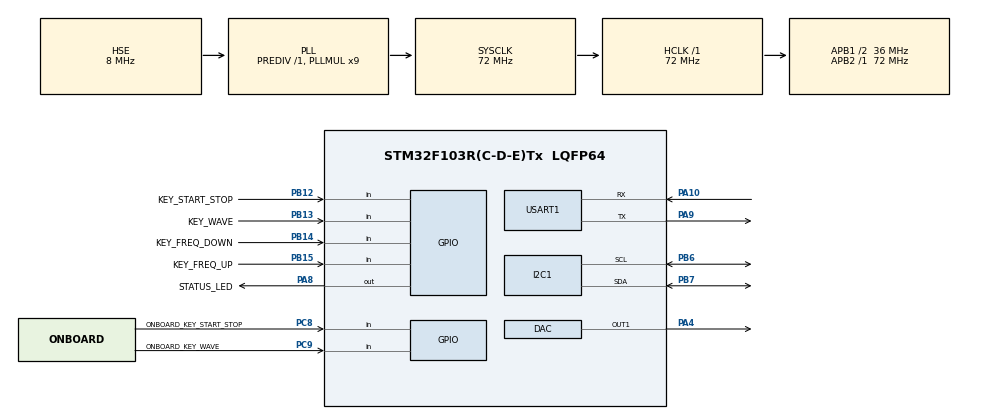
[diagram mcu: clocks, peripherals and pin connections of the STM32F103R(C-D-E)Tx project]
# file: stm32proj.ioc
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DAC.DAC_Trigger=DAC_TRIGGER_T6_TRGO
Dma.DAC_CH1.0.Direction=DMA_MEMORY_TO_PERIPH
Dma.DAC_CH1.0.Instance=DMA2_Channel3
Dma.DAC_CH1.0.MemDataAlignment=DMA_MDATAALIGN_HALFWORD
Dma.DAC_CH1.0.MemInc=DMA_MINC_ENABLE
Dma.DAC_CH1.0.Mode=DMA_CIRCULAR
Dma.DAC_CH1.0.PeriphDataAlignment=DMA_PDATAALIGN_HALFWORD
Dma.DAC_CH1.0.PeriphInc=DMA_PINC_DISABLE
Dma.DAC_CH1.0.Priority=DMA_PRIORITY_HIGH
Dma.Request0=DAC_CH1
Mcu.Family=STM32F1
Mcu.Name=STM32F103R(C-D-E)Tx
Mcu.Package=LQFP64
NVIC.DMA2_Channel3_IRQn=true\:0\:0\:false\:false\:true\:false\:true\:true
NVIC.PriorityGroup=NVIC_PRIORITYGROUP_4
PA10.Mode=Asynchronous
PA10.Signal=USART1_RX
PA13.Mode=Serial_Wire
PA13.Signal=SYS_JTMS-SWDIO
PA14.Mode=Serial_Wire
PA14.Signal=SYS_JTCK-SWCLK
PA4.Signal=COMP_DAC1_group
PA8.GPIO_Label=STATUS_LED
PA8.PinState=GPIO_PIN_SET
PA8.Signal=GPIO_Output
PA9.Mode=Asynchronous
PA9.Signal=USART1_TX
PB12.GPIO_Label=KEY_START_STOP
PB12.GPIO_PuPd=GPIO_PULLUP
PB12.Signal=GPIO_Input
PB13.GPIO_Label=KEY_WAVE
PB13.GPIO_PuPd=GPIO_PULLUP
PB13.Signal=GPIO_Input
PB14.GPIO_Label=KEY_FREQ_DOWN
PB14.GPIO_PuPd=GPIO_PULLUP
PB14.Signal=GPIO_Input
PB15.GPIO_Label=KEY_FREQ_UP
PB15.GPIO_PuPd=GPIO_PULLUP
PB15.Signal=GPIO_Input
PB6.Mode=I2C
PB6.Signal=I2C1_SCL
PB7.Mode=I2C
PB7.Signal=I2C1_SDA
PC8.GPIO_Label=ONBOARD_KEY_START_STOP
PC8.GPIO_PuPd=GPIO_PULLUP
PC8.Signal=GPIO_Input
PC9.GPIO_Label=ONBOARD_KEY_WAVE
PC9.GPIO_PuPd=GPIO_PULLUP
PC9.Signal=GPIO_Input
PD0-OSC_IN.Mode=HSE-External-Oscillator
PD0-OSC_IN.Signal=RCC_OSC_IN
PD1-OSC_OUT.Mode=HSE-External-Oscillator
PD1-OSC_OUT.Signal=RCC_OSC_OUT
ProjectManager.HeapSize=0x200
ProjectManager.StackSize=0x400
ProjectManager.TargetToolchain=CMake
RCC.AHBFreq_Value=72000000
RCC.APB1CLKDivider=RCC_HCLK_DIV2
RCC.APB1Freq_Value=36000000
RCC.APB1TimFreq_Value=72000000
RCC.APB2Freq_Value=72000000
RCC.APB2TimFreq_Value=72000000
RCC.HCLKFreq_Value=72000000
RCC.PLLMUL=RCC_PLL_MUL9
RCC.PLLSourceVirtual=RCC_PLLSOURCE_HSE
RCC.SYSCLKFreq_VALUE=72000000
RCC.SYSCLKSource=RCC_SYSCLKSOURCE_PLLCLK
RCC.USBFreq_Value=72000000
SH.COMP_DAC1_group.0=DAC_OUT1,DAC_OUT1
TIM6.Period=280
TIM6.TIM_MasterOutputTrigger=TIM_TRGO_UPDATE
USART1.VirtualMode=VM_ASYNC
VP_TIM6_VS_ClockSourceINT.Mode=Enable_Timer
board=custom

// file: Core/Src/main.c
/* USER CODE BEGIN Header */
/**
  ******************************************************************************
  * @file           : main.c
  * @brief          : Main program body
  ******************************************************************************
  * @attention
  *
  * Copyright (c) 2026 STMicroelectronics.
  * All rights reserved.
  *
  * This software is licensed under terms that can be found in the LICENSE file
  * in the root directory of this software component.
  * If no LICENSE file comes with this software, it is provided AS-IS.
  *
  ******************************************************************************
  */
/* USER CODE END Header */
#include "main.h"
#include "dac.h"
#include "dma.h"
#include "i2c.h"
#include "tim.h"
#include "usart.h"
#include "gpio.h"

/* USER CODE BEGIN Includes */

#include <stdio.h>

#include "app_buttons.h"
#include "app_serial.h"
#include "app_ui.h"
#include "waveform.h"

/* USER CODE END Includes */

/* USER CODE BEGIN PD */

#define DISPLAY_POWER_ON_DELAY_MS  50U
#define DISPLAY_RETRY_PERIOD_MS    2000U
#define HEARTBEAT_HALF_PERIOD_MS   500U

/* USER CODE END PD */

/* USER CODE BEGIN PV */

static uint32_t display_last_attempt_ms;
static uint32_t heartbeat_last_toggle_ms;

/* USER CODE END PV */

void SystemClock_Config(void);
/* USER CODE BEGIN PFP */

static int32_t app_get_frequency_step(bool increase);
static uint32_t app_get_next_sample_rate(bool increase);
static HAL_StatusTypeDef app_step_rate(bool increase);
static void app_handle_events(app_button_event_t events);
static void app_refresh_status(void);
static void app_report_status(void);
static void app_service_display(void);
static void app_service_heartbeat(void);

/* USER CODE END PFP */

/* USER CODE BEGIN 0 */

static int32_t app_get_frequency_step(bool increase)
{
  uint32_t frequency_hz = waveform_get_frequency();
  int32_t step_hz;

  if (increase)
  {
    if (frequency_hz < 10U)
    {
      step_hz = 1;
    }
    else if (frequency_hz < 100U)
    {
      step_hz = 10;
    }
    else if (frequency_hz < 1000U)
    {
      step_hz = 100;
    }
    else
    {
      step_hz = 1000;
    }
  }
  else
  {
    if (frequency_hz <= 10U)
    {
      step_hz = 1;
    }
    else if (frequency_hz <= 100U)
    {
      step_hz = 10;
    }
    else if (frequency_hz <= 1000U)
    {
      step_hz = 100;
    }
    else
    {
      step_hz = 1000;
    }
    step_hz = -step_hz;
  }

  return step_hz;
}

/*
 * The noise type has no output frequency: its keys move the sample rate, and
 * that range spans more than an order of magnitude, so step by octaves instead
 * of the periodic bands above.
 */
static uint32_t app_get_next_sample_rate(bool increase)
{
  uint32_t sample_rate_hz = waveform_get_sample_rate();

  if (increase)
  {
    sample_rate_hz *= 2U;
    if (sample_rate_hz > WAVEFORM_NOISE_MAX_RATE_HZ)
    {
      sample_rate_hz = WAVEFORM_NOISE_MAX_RATE_HZ;
    }
  }
  else
  {
    sample_rate_hz /= 2U;
    if (sample_rate_hz < WAVEFORM_NOISE_MIN_RATE_HZ)
    {
      sample_rate_hz = WAVEFORM_NOISE_MIN_RATE_HZ;
    }
  }

  return sample_rate_hz;
}

/** The frequency keys drive whichever rate the current type is defined by. */
static HAL_StatusTypeDef app_step_rate(bool increase)
{
  if (waveform_get_type() == WAVEFORM_NOISE)
  {
    return waveform_set_sample_rate(app_get_next_sample_rate(increase));
  }

  return waveform_step_frequency(app_get_frequency_step(increase));
}

static void app_handle_events(app_button_event_t events)
{
  HAL_StatusTypeDef status = HAL_OK;

  if ((events & APP_BUTTON_EVENT_START_STOP) != 0U)
  {
    status = waveform_toggle();
  }
  if ((status == HAL_OK) && ((events & APP_BUTTON_EVENT_WAVE_NEXT) != 0U))
  {
    status = waveform_next_type();
  }

  /* Ignore contradictory frequency events caused by pressing both keys. */
  if ((status == HAL_OK)
      && ((events & (APP_BUTTON_EVENT_FREQ_DOWN | APP_BUTTON_EVENT_FREQ_UP))
          == APP_BUTTON_EVENT_FREQ_DOWN))
  {
    status = app_step_rate(false);
  }
  else if ((status == HAL_OK)
           && ((events & (APP_BUTTON_EVENT_FREQ_DOWN | APP_BUTTON_EVENT_FREQ_UP))
               == APP_BUTTON_EVENT_FREQ_UP))
  {
    status = app_step_rate(true);
  }

  if (status != HAL_OK)
  {
    Error_Handler();
  }
}

static void app_refresh_status(void)
{
  bool noise_mode = (waveform_get_type() == WAVEFORM_NOISE);
  app_ui_state_t ui_state = {
    .waveform_name = waveform_type_name(waveform_get_type()),
    .set_frequency_hz = noise_mode
        ? waveform_get_sample_rate()
        : waveform_get_frequency(),
    .actual_frequency_millihz = noise_mode
        ? waveform_get_actual_sample_rate_millihz()
        : waveform_get_actual_frequency_millihz(),
    .running = waveform_is_running(),
    .sample_rate_mode = noise_mode
  };

  (void)app_ui_render(&ui_state);
}

static void app_report_status(void)
{
  char message[96];
  int length;

  if (waveform_get_type() == WAVEFORM_NOISE)
  {
    uint32_t actual_millihz = waveform_get_actual_sample_rate_millihz();

    length = snprintf(
        message,
        sizeof(message),
        "wave=%s rate=%luSPS actual=%luSPS points=%lu state=%s\r\n",
        waveform_type_name(waveform_get_type()),
        (unsigned long)waveform_get_sample_rate(),
        (unsigned long)(actual_millihz / 1000U),
        (unsigned long)waveform_get_sample_count(),
        waveform_is_running() ? "RUN" : "STOP");
  }
  else
  {
    uint32_t actual_millihz = waveform_get_actual_frequency_millihz();

    length = snprintf(
        message,
        sizeof(message),
        "wave=%s set=%luHz actual=%lu.%03luHz points=%lu state=%s\r\n",
        waveform_type_name(waveform_get_type()),
        (unsigned long)waveform_get_frequency(),
        (unsigned long)(actual_millihz / 1000U),
        (unsigned long)(actual_millihz % 1000U),
        (unsigned long)waveform_get_sample_count(),
        waveform_is_running() ? "RUN" : "STOP");
  }

  if (length > 0)
  {
    uint16_t transmit_length = (uint16_t)length;

    if ((size_t)length >= sizeof(message))
    {
      transmit_length = (uint16_t)(sizeof(message) - 1U);
    }
    (void)HAL_UART_Transmit(
        &huart1,
        (uint8_t *)message,
        transmit_length,
        50U);
  }
}

static void app_service_display(void)
{
  uint32_t now = HAL_GetTick();

  if (app_ui_is_ready()
      || ((uint32_t)(now - display_last_attempt_ms)
          < DISPLAY_RETRY_PERIOD_MS))
  {
    return;
  }

  display_last_attempt_ms = now;
  if (app_ui_init() == HAL_OK)
  {
    app_refresh_status();
  }
}

static void app_service_heartbeat(void)
{
  uint32_t now = HAL_GetTick();

  if ((uint32_t)(now - heartbeat_last_toggle_ms)
      < HEARTBEAT_HALF_PERIOD_MS)
  {
    return;
  }

  heartbeat_last_toggle_ms = now;
  HAL_GPIO_TogglePin(STATUS_LED_GPIO_Port, STATUS_LED_Pin);
}

/* USER CODE END 0 */

int main(void)
{

  /* MCU Configuration--------------------------------------------------------*/

  /* Reset of all peripherals, Initializes the Flash interface and the Systick. */
  HAL_Init();

  /* Configure the system clock */
  SystemClock_Config();

  /* Initialize all configured peripherals */
  MX_GPIO_Init();
  MX_DMA_Init();
  MX_DAC_Init();
  MX_TIM6_Init();
  MX_I2C1_Init();
  MX_USART1_UART_Init();
  /* USER CODE BEGIN 2 */

  app_buttons_init();
  app_serial_init();
  heartbeat_last_toggle_ms = HAL_GetTick();
  if (waveform_init() != HAL_OK)
  {
    Error_Handler();
  }
  if (waveform_start() != HAL_OK)
  {
    Error_Handler();
  }

  HAL_Delay(DISPLAY_POWER_ON_DELAY_MS);
  display_last_attempt_ms = HAL_GetTick();
  (void)app_ui_init();
  app_refresh_status();
  app_report_status();

  /* USER CODE END 2 */

  /* Infinite loop */
  while (1)
  {

    /* USER CODE BEGIN 3 */
    app_button_event_t events = app_buttons_poll();

    /* Console keys reuse the button events; app_serial.c currently disables them. */
    events = (app_button_event_t)(events | app_serial_poll());

    if (events != APP_BUTTON_EVENT_NONE)
    {
      app_handle_events(events);
      app_refresh_status();
      app_report_status();
    }

    app_service_display();
    app_service_heartbeat();
    HAL_Delay(1U);
  }
  /* USER CODE END 3 */
}

void SystemClock_Config(void)
{
  RCC_OscInitTypeDef RCC_OscInitStruct = {0};
  RCC_ClkInitTypeDef RCC_ClkInitStruct = {0};

  /** Initializes the RCC Oscillators according to the specified parameters
  * in the RCC_OscInitTypeDef structure.
  */
  RCC_OscInitStruct.OscillatorType = RCC_OSCILLATORTYPE_HSE;
  RCC_OscInitStruct.HSEState = RCC_HSE_ON;
  RCC_OscInitStruct.HSEPredivValue = RCC_HSE_PREDIV_DIV1;
  RCC_OscInitStruct.HSIState = RCC_HSI_ON;
  RCC_OscInitStruct.PLL.PLLState = RCC_PLL_ON;
  RCC_OscInitStruct.PLL.PLLSource = RCC_PLLSOURCE_HSE;
  RCC_OscInitStruct.PLL.PLLMUL = RCC_PLL_MUL9;
  if (HAL_RCC_OscConfig(&RCC_OscInitStruct) != HAL_OK)
  {
    Error_Handler();
  }

  /** Initializes the CPU, AHB and APB buses clocks
  */
  RCC_ClkInitStruct.ClockType = RCC_CLOCKTYPE_HCLK|RCC_CLOCKTYPE_SYSCLK
                              |RCC_CLOCKTYPE_PCLK1|RCC_CLOCKTYPE_PCLK2;
  RCC_ClkInitStruct.SYSCLKSource = RCC_SYSCLKSOURCE_PLLCLK;
  RCC_ClkInitStruct.AHBCLKDivider = RCC_SYSCLK_DIV1;
  RCC_ClkInitStruct.APB1CLKDivider = RCC_HCLK_DIV2;
  RCC_ClkInitStruct.APB2CLKDivider = RCC_HCLK_DIV1;

  if (HAL_RCC_ClockConfig(&RCC_ClkInitStruct, FLASH_LATENCY_2) != HAL_OK)
  {
    Error_Handler();
  }
}

void Error_Handler(void)
{
  __disable_irq();
  while (1)
  {
  }
}
